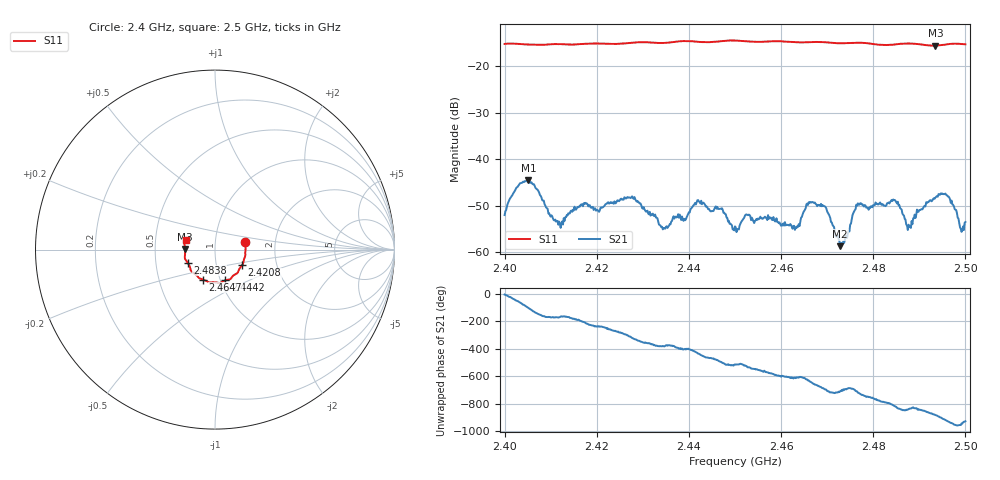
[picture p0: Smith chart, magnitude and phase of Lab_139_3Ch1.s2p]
# Hz S RI R 50
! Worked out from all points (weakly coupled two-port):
!   601 points, 2.4 GHz to 2.5 GHz, reference 50 ohm
!   highest |S21| = -44.55 dB at 2.4052 GHz (marker M1); lowest = -58.7 dB at 2.4728 GHz (marker M2)
!   lowest |S11| = -15.6 dB at 2.4935 GHz (marker M3), VSWR 1.40, Z = 35.8 + j0.209 ohm
!   |S11| at or under -10 dB: start of sweep to end of sweep
!   S12 and S22 are empty: the file has one direction only
!   S11 on the Smith chart (normalised r, x): 2.4 GHz: 1.40, +0.12; 2.4208 GHz: 1.33, -0.24; 2.4442 GHz: 1.05, -0.37; 2.4647 GHz: 0.83, -0.29; 2.4838 GHz: 0.73, -0.11; 2.5 GHz: 0.72, +0.08
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2.4e9  0.1681 0.0407  0.00251 -0.000208  0 0  0 0
2.405167e9  0.1702 0.00781  -0.00121 -0.0058  0 0  0 0
2.411667e9  0.1681 -0.0369  -0.00196 -0.000266  0 0  0 0
2.416667e9  0.1586 -0.0681  -0.0031 0.00104  0 0  0 0
2.420833e9  0.151 -0.0875  -0.00162 0.00255  0 0  0 0
2.427667e9  0.1291 -0.1225  0.00312 0.0025  0 0  0 0
2.433333e9  0.108 -0.1401  0.00202 -0.00075  0 0  0 0
2.444167e9  0.057 -0.1712  -0.000706 -0.00283  0 0  0 0
2.45e9  0.0246 -0.1866  -0.00169 -0.000863  0 0  0 0
2.452667e9  0.0113 -0.1838  -0.00251 -0.000306  0 0  0 0
2.462833e9  -0.0529 -0.1728  -0.00066 0.00181  0 0  0 0
2.464667e9  -0.0672 -0.1667  -0.000929 0.00237  0 0  0 0
2.466667e9  -0.0802 -0.1626  0.000916 0.00333  0 0  0 0
2.4695e9  -0.0916 -0.1556  0.00282 0.00131  0 0  0 0
2.472833e9  -0.1067 -0.1399  0.00114 0.00025  0 0  0 0
2.476833e9  -0.1315 -0.1204  0.00326 -4.39e-05  0 0  0 0
2.483333e9  -0.1502 -0.0762  0.000974 -0.00329  0 0  0 0
2.483833e9  -0.1531 -0.072  0.000464 -0.00352  0 0  0 0
2.487667e9  -0.1678 -0.0492  -0.00096 -0.00173  0 0  0 0
2.4935e9  -0.1656 0.00284  -0.00369 -0.00119  0 0  0 0
2.496e9  -0.1693 0.0258  -0.00372 0.00172  0 0  0 0
2.5e9  -0.1629 0.0527  -0.00189 0.000958  0 0  0 0
